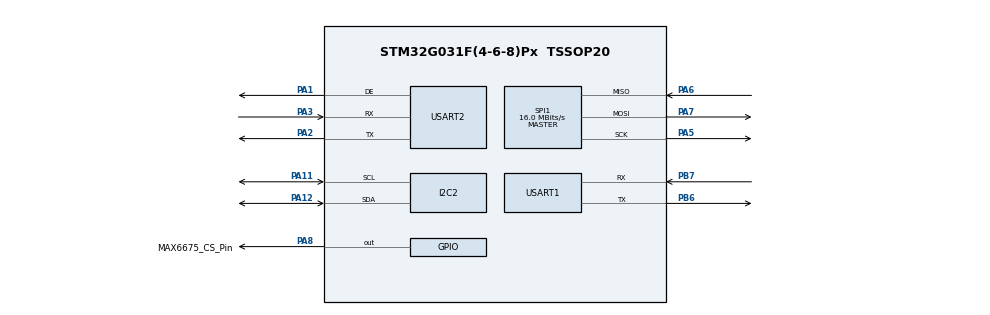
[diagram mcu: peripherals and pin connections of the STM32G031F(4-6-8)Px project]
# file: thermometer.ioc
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I2C2.Timing=0x00B07CB4
Mcu.Family=STM32G0
Mcu.Name=STM32G031F(4-6-8)Px
Mcu.Package=TSSOP20
PA1.Mode=Hardware Flow Control (RS485)
PA1.Signal=USART2_DE
PA11\ [PA9].Mode=I2C
PA11\ [PA9].Signal=I2C2_SCL
PA12\ [PA10].Mode=I2C
PA12\ [PA10].Signal=I2C2_SDA
PA13.Mode=Serial_Wire
PA13.Signal=SYS_SWDIO
PA14-BOOT0.Mode=Serial_Wire
PA14-BOOT0.Signal=SYS_SWCLK
PA14-BOOT0__PA15.StandardMode=true
PA2.Mode=Asynchronous
PA2.Signal=USART2_TX
PA3.Mode=Asynchronous
PA3.Signal=USART2_RX
PA5.Mode=Full_Duplex_Master
PA5.Signal=SPI1_SCK
PA6.Mode=Full_Duplex_Master
PA6.Signal=SPI1_MISO
PA7.Mode=Full_Duplex_Master
PA7.Signal=SPI1_MOSI
PA8.GPIO_Label=MAX6675_CS_Pin
PA8.Signal=GPIO_Output
PB0__PB1__PB2__PA8.StandardMode=true
PB3__PB4__PB5__PB6.StandardMode=true
PB6.Mode=Asynchronous
PB6.Signal=USART1_TX
PB7.Mode=Asynchronous
PB7.Signal=USART1_RX
PB7__PB8.StandardMode=true
PC14-OSC32_IN\ (PC14)__PB9.StandardMode=true
ProjectManager.HeapSize=0x200
ProjectManager.StackSize=0x400
ProjectManager.TargetToolchain=STM32CubeIDE
RCC.ADCFreq_Value=32000000
RCC.AHBFreq_Value=32000000
RCC.CortexFreq_Value=32000000
RCC.EXTERNAL_CLOCK_VALUE=12288000
RCC.HCLKFreq_Value=32000000
RCC.HSE_VALUE=8000000
RCC.HSI_VALUE=16000000
RCC.LSE_VALUE=32768
RCC.PLLR=RCC_PLLR_DIV4
RCC.SYSCLKFreq_VALUE=32000000
RCC.SYSCLKSource=RCC_SYSCLKSOURCE_PLLCLK
RCC.VCOOutputFreq_Value=128000000
SPI1.CalculateBaudRate=16.0 MBits/s
SPI1.Direction=SPI_DIRECTION_2LINES
SPI1.Mode=SPI_MODE_MASTER
SPI1.VirtualType=VM_MASTER
USART1.VirtualMode-Asynchronous=VM_ASYNC
USART2.VirtualMode-Asynchronous=VM_ASYNC
USART2.VirtualMode-Hardware\ Flow\ Control\ (RS485)=VM_ASYNC
board=custom

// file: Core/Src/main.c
/* USER CODE BEGIN Header */
/**
 ******************************************************************************
 * @file           : main.c
 * @brief          : Main program body
 ******************************************************************************
 * @attention
 *
 * Copyright (c) 2025 STMicroelectronics.
 * All rights reserved.
 *
 * This software is licensed under terms that can be found in the LICENSE file
 * in the root directory of this software component.
 * If no LICENSE file comes with this software, it is provided AS-IS.
 *
 ******************************************************************************
 */
/* USER CODE END Header */
#include "main.h"
#include "max6675.h"
#include "oled.h"
#include "font.h"
#include "stm32g0xx_ll_cortex.h"
#include "system_stm32g0xx.h"
#include <stdio.h>
#include <string.h>

/* USER CODE BEGIN PD */
#define OLED_BUFFER_SIZE  10
/* USER CODE END PD */

/* USER CODE BEGIN PV */
static uint32_t last_screen_update = 0;
const uint32_t screen_update_interval = 1000;
/* USER CODE END PV */

void SystemClock_Config(void);
static void MX_GPIO_Init(void);
static void MX_I2C2_Init(void);
static void MX_SPI1_Init(void);
static void MX_USART1_UART_Init(void);
static void MX_USART2_UART_Init(void);

int main(void)
{

    /* MCU Configuration--------------------------------------------------------*/

    /* Reset of all peripherals, Initializes the Flash interface and the Systick. */
    LL_APB2_GRP1_EnableClock(LL_APB2_GRP1_PERIPH_SYSCFG);
    LL_APB1_GRP1_EnableClock(LL_APB1_GRP1_PERIPH_PWR);

    /* SysTick_IRQn interrupt configuration */
    NVIC_SetPriority(SysTick_IRQn, 3);

    /* Configure the system clock */
    SystemClock_Config();

    /* USER CODE BEGIN SysInit */
    SysTick_Config(SystemCoreClock / 1000);
    LL_SYSTICK_EnableIT();
    /* USER CODE END SysInit */

    /* Initialize all configured peripherals */
    MX_GPIO_Init();
    MX_I2C2_Init();
    MX_SPI1_Init();
    MX_USART1_UART_Init();
    MX_USART2_UART_Init();
    /* USER CODE BEGIN 2 */
    ssd1306_init();
    char buffer[OLED_BUFFER_SIZE];
    /* USER CODE END 2 */

    /* Infinite loop */
    /* USER CODE BEGIN WHILE */
    __enable_irq();
    while (1)
    {
        uint16_t raw_data = max6675_read_raw_data(SPI1, MAX6675_CS_Pin_GPIO_Port, MAX6675_CS_Pin_Pin);

        if (max6675_is_thermocouple_connected(raw_data))
        {
            volatile float temp = max6675_convert_to_temperature(raw_data);
            int16_t temp_int = (int16_t) temp;
            snprintf(buffer, OLED_BUFFER_SIZE, "T:%d", temp_int);
        }
        else
        {
            strcpy(buffer, "eee");
            //message on oled display if thermocouple isn't connected
        }

        ssd1306_draw_string(font_get_special_7x13(), buffer, 10, 15);

        ssd1306_update_screen();

        /* USER CODE END WHILE */

    }
}

void SystemClock_Config(void)
{
    LL_FLASH_SetLatency(LL_FLASH_LATENCY_1);
    while (LL_FLASH_GetLatency() != LL_FLASH_LATENCY_1)
    {
    }

    /* HSI configuration and activation */
    LL_RCC_HSI_Enable();
    while (LL_RCC_HSI_IsReady() != 1)
    {
    }

    /* Main PLL configuration and activation */
    LL_RCC_PLL_ConfigDomain_SYS(LL_RCC_PLLSOURCE_HSI, LL_RCC_PLLM_DIV_1, 8, LL_RCC_PLLR_DIV_4);
    LL_RCC_PLL_Enable();
    LL_RCC_PLL_EnableDomain_SYS();
    while (LL_RCC_PLL_IsReady() != 1)
    {
    }

    /* Set AHB prescaler*/
    LL_RCC_SetAHBPrescaler(LL_RCC_SYSCLK_DIV_1);

    /* Sysclk activation on the main PLL */
    LL_RCC_SetSysClkSource(LL_RCC_SYS_CLKSOURCE_PLL);
    while (LL_RCC_GetSysClkSource() != LL_RCC_SYS_CLKSOURCE_STATUS_PLL)
    {
    }

    /* Set APB1 prescaler*/
    LL_RCC_SetAPB1Prescaler(LL_RCC_APB1_DIV_1);

    LL_Init1msTick(32000000);

    /* Update CMSIS variable (which can be updated also through SystemCoreClockUpdate function) */
    LL_SetSystemCoreClock(32000000);
}

static void MX_I2C2_Init(void)
{

    LL_I2C_InitTypeDef I2C_InitStruct = { 0 };

    LL_GPIO_InitTypeDef GPIO_InitStruct = { 0 };

    LL_IOP_GRP1_EnableClock(LL_IOP_GRP1_PERIPH_GPIOA);
    /**I2C2 GPIO Configuration
     PA11 [PA9]   ------> I2C2_SCL
     PA12 [PA10]   ------> I2C2_SDA
     */
    GPIO_InitStruct.Pin = LL_GPIO_PIN_11;
    GPIO_InitStruct.Mode = LL_GPIO_MODE_ALTERNATE;
    GPIO_InitStruct.Speed = LL_GPIO_SPEED_FREQ_LOW;
    GPIO_InitStruct.OutputType = LL_GPIO_OUTPUT_OPENDRAIN;
    GPIO_InitStruct.Pull = LL_GPIO_PULL_NO;
    GPIO_InitStruct.Alternate = LL_GPIO_AF_6;
    LL_GPIO_Init(GPIOA, &GPIO_InitStruct);

    GPIO_InitStruct.Pin = LL_GPIO_PIN_12;
    GPIO_InitStruct.Mode = LL_GPIO_MODE_ALTERNATE;
    GPIO_InitStruct.Speed = LL_GPIO_SPEED_FREQ_LOW;
    GPIO_InitStruct.OutputType = LL_GPIO_OUTPUT_OPENDRAIN;
    GPIO_InitStruct.Pull = LL_GPIO_PULL_NO;
    GPIO_InitStruct.Alternate = LL_GPIO_AF_6;
    LL_GPIO_Init(GPIOA, &GPIO_InitStruct);

    /* Peripheral clock enable */
    LL_APB1_GRP1_EnableClock(LL_APB1_GRP1_PERIPH_I2C2);

    /** I2C Initialization
     */
    I2C_InitStruct.PeripheralMode = LL_I2C_MODE_I2C;
    I2C_InitStruct.Timing = 0x00B07CB4;
    I2C_InitStruct.AnalogFilter = LL_I2C_ANALOGFILTER_ENABLE;
    I2C_InitStruct.DigitalFilter = 0;
    I2C_InitStruct.OwnAddress1 = 0;
    I2C_InitStruct.TypeAcknowledge = LL_I2C_ACK;
    I2C_InitStruct.OwnAddrSize = LL_I2C_OWNADDRESS1_7BIT;
    LL_I2C_Init(I2C2, &I2C_InitStruct);
    LL_I2C_EnableAutoEndMode(I2C2);
    LL_I2C_SetOwnAddress2(I2C2, 0, LL_I2C_OWNADDRESS2_NOMASK);
    LL_I2C_DisableOwnAddress2(I2C2);
    LL_I2C_DisableGeneralCall(I2C2);
    LL_I2C_EnableClockStretching(I2C2);

}

static void MX_SPI1_Init(void)
{

    LL_SPI_InitTypeDef SPI_InitStruct = { 0 };

    LL_GPIO_InitTypeDef GPIO_InitStruct = { 0 };

    /* Peripheral clock enable */
    LL_APB2_GRP1_EnableClock(LL_APB2_GRP1_PERIPH_SPI1);

    LL_IOP_GRP1_EnableClock(LL_IOP_GRP1_PERIPH_GPIOA);
    /**SPI1 GPIO Configuration
     PA5   ------> SPI1_SCK
     PA6   ------> SPI1_MISO
     PA7   ------> SPI1_MOSI
     */
    GPIO_InitStruct.Pin = LL_GPIO_PIN_5;
    GPIO_InitStruct.Mode = LL_GPIO_MODE_ALTERNATE;
    GPIO_InitStruct.Speed = LL_GPIO_SPEED_FREQ_LOW;
    GPIO_InitStruct.OutputType = LL_GPIO_OUTPUT_PUSHPULL;
    GPIO_InitStruct.Pull = LL_GPIO_PULL_NO;
    GPIO_InitStruct.Alternate = LL_GPIO_AF_0;
    LL_GPIO_Init(GPIOA, &GPIO_InitStruct);

    GPIO_InitStruct.Pin = LL_GPIO_PIN_6;
    GPIO_InitStruct.Mode = LL_GPIO_MODE_ALTERNATE;
    GPIO_InitStruct.Speed = LL_GPIO_SPEED_FREQ_LOW;
    GPIO_InitStruct.OutputType = LL_GPIO_OUTPUT_PUSHPULL;
    GPIO_InitStruct.Pull = LL_GPIO_PULL_NO;
    GPIO_InitStruct.Alternate = LL_GPIO_AF_0;
    LL_GPIO_Init(GPIOA, &GPIO_InitStruct);

    /* SPI1 parameter configuration*/
    SPI_InitStruct.TransferDirection = LL_SPI_FULL_DUPLEX;
    SPI_InitStruct.Mode = LL_SPI_MODE_MASTER;
    SPI_InitStruct.DataWidth = LL_SPI_DATAWIDTH_8BIT;
    SPI_InitStruct.ClockPolarity = LL_SPI_POLARITY_LOW;
    SPI_InitStruct.ClockPhase = LL_SPI_PHASE_1EDGE;
    SPI_InitStruct.NSS = LL_SPI_NSS_SOFT;
    SPI_InitStruct.BaudRate = LL_SPI_BAUDRATEPRESCALER_DIV8;
    SPI_InitStruct.BitOrder = LL_SPI_MSB_FIRST;
    SPI_InitStruct.CRCCalculation = LL_SPI_CRCCALCULATION_DISABLE;
    SPI_InitStruct.CRCPoly = 7;
    LL_SPI_Init(SPI1, &SPI_InitStruct);
    LL_SPI_SetStandard(SPI1, LL_SPI_PROTOCOL_MOTOROLA);
    LL_SPI_EnableNSSPulseMgt(SPI1);

}

static void MX_USART1_UART_Init(void)
{

    LL_USART_InitTypeDef USART_InitStruct = { 0 };

    LL_GPIO_InitTypeDef GPIO_InitStruct = { 0 };

    LL_RCC_SetUSARTClockSource(LL_RCC_USART1_CLKSOURCE_PCLK1);

    /* Peripheral clock enable */
    LL_APB2_GRP1_EnableClock(LL_APB2_GRP1_PERIPH_USART1);

    LL_IOP_GRP1_EnableClock(LL_IOP_GRP1_PERIPH_GPIOB);
    /**USART1 GPIO Configuration
     PB7   ------> USART1_RX
     PB6   ------> USART1_TX
     */
    GPIO_InitStruct.Pin = LL_GPIO_PIN_7;
    GPIO_InitStruct.Mode = LL_GPIO_MODE_ALTERNATE;
    GPIO_InitStruct.Speed = LL_GPIO_SPEED_FREQ_LOW;
    GPIO_InitStruct.OutputType = LL_GPIO_OUTPUT_PUSHPULL;
    GPIO_InitStruct.Pull = LL_GPIO_PULL_NO;
    GPIO_InitStruct.Alternate = LL_GPIO_AF_0;
    LL_GPIO_Init(GPIOB, &GPIO_InitStruct);

    GPIO_InitStruct.Pin = LL_GPIO_PIN_6;
    GPIO_InitStruct.Mode = LL_GPIO_MODE_ALTERNATE;
    GPIO_InitStruct.Speed = LL_GPIO_SPEED_FREQ_LOW;
    GPIO_InitStruct.OutputType = LL_GPIO_OUTPUT_PUSHPULL;
    GPIO_InitStruct.Pull = LL_GPIO_PULL_NO;
    GPIO_InitStruct.Alternate = LL_GPIO_AF_0;
    LL_GPIO_Init(GPIOB, &GPIO_InitStruct);

    USART_InitStruct.PrescalerValue = LL_USART_PRESCALER_DIV1;
    USART_InitStruct.BaudRate = 115200;
    USART_InitStruct.DataWidth = LL_USART_DATAWIDTH_8B;
    USART_InitStruct.StopBits = LL_USART_STOPBITS_1;
    USART_InitStruct.Parity = LL_USART_PARITY_NONE;
    USART_InitStruct.TransferDirection = LL_USART_DIRECTION_TX_RX;
    USART_InitStruct.HardwareFlowControl = LL_USART_HWCONTROL_NONE;
    USART_InitStruct.OverSampling = LL_USART_OVERSAMPLING_16;
    LL_USART_Init(USART1, &USART_InitStruct);
    LL_USART_SetTXFIFOThreshold(USART1, LL_USART_FIFOTHRESHOLD_1_8);
    LL_USART_SetRXFIFOThreshold(USART1, LL_USART_FIFOTHRESHOLD_1_8);
    LL_USART_DisableFIFO(USART1);
    LL_USART_ConfigAsyncMode(USART1);

    LL_USART_Enable(USART1);

    /* Polling USART1 initialisation */
    while ((!(LL_USART_IsActiveFlag_TEACK(USART1))) || (!(LL_USART_IsActiveFlag_REACK(USART1))))
    {
    }

}

static void MX_USART2_UART_Init(void)
{

    LL_USART_InitTypeDef USART_InitStruct = { 0 };

    LL_GPIO_InitTypeDef GPIO_InitStruct = { 0 };

    /* Peripheral clock enable */
    LL_APB1_GRP1_EnableClock(LL_APB1_GRP1_PERIPH_USART2);

    LL_IOP_GRP1_EnableClock(LL_IOP_GRP1_PERIPH_GPIOA);
    /**USART2 GPIO Configuration
     PA1   ------> USART2_DE
     PA2   ------> USART2_TX
     PA3   ------> USART2_RX
     */
    GPIO_InitStruct.Pin = LL_GPIO_PIN_1;
    GPIO_InitStruct.Mode = LL_GPIO_MODE_ALTERNATE;
    GPIO_InitStruct.Speed = LL_GPIO_SPEED_FREQ_LOW;
    GPIO_InitStruct.OutputType = LL_GPIO_OUTPUT_PUSHPULL;
    GPIO_InitStruct.Pull = LL_GPIO_PULL_NO;
    GPIO_InitStruct.Alternate = LL_GPIO_AF_1;
    LL_GPIO_Init(GPIOA, &GPIO_InitStruct);

    GPIO_InitStruct.Pin = LL_GPIO_PIN_2;
    GPIO_InitStruct.Mode = LL_GPIO_MODE_ALTERNATE;
    GPIO_InitStruct.Speed = LL_GPIO_SPEED_FREQ_LOW;
    GPIO_InitStruct.OutputType = LL_GPIO_OUTPUT_PUSHPULL;
    GPIO_InitStruct.Pull = LL_GPIO_PULL_NO;
    GPIO_InitStruct.Alternate = LL_GPIO_AF_1;
    LL_GPIO_Init(GPIOA, &GPIO_InitStruct);

    GPIO_InitStruct.Pin = LL_GPIO_PIN_3;
    GPIO_InitStruct.Mode = LL_GPIO_MODE_ALTERNATE;
    GPIO_InitStruct.Speed = LL_GPIO_SPEED_FREQ_LOW;
    GPIO_InitStruct.OutputType = LL_GPIO_OUTPUT_PUSHPULL;
    GPIO_InitStruct.Pull = LL_GPIO_PULL_NO;
    GPIO_InitStruct.Alternate = LL_GPIO_AF_1;
    LL_GPIO_Init(GPIOA, &GPIO_InitStruct);

    USART_InitStruct.PrescalerValue = LL_USART_PRESCALER_DIV1;
    USART_InitStruct.BaudRate = 115200;
    USART_InitStruct.DataWidth = LL_USART_DATAWIDTH_8B;
    USART_InitStruct.StopBits = LL_USART_STOPBITS_1;
    USART_InitStruct.Parity = LL_USART_PARITY_NONE;
    USART_InitStruct.TransferDirection = LL_USART_DIRECTION_TX_RX;
    USART_InitStruct.HardwareFlowControl = LL_USART_HWCONTROL_NONE;
    USART_InitStruct.OverSampling = LL_USART_OVERSAMPLING_16;
    LL_USART_Init(USART2, &USART_InitStruct);
    LL_USART_EnableDEMode(USART2);
    LL_USART_SetDESignalPolarity(USART2, LL_USART_DE_POLARITY_HIGH);
    LL_USART_SetDEAssertionTime(USART2, 0);
    LL_USART_SetDEDeassertionTime(USART2, 0);
    LL_USART_ConfigAsyncMode(USART2);

    LL_USART_Enable(USART2);

    /* Polling USART2 initialisation */
    while ((!(LL_USART_IsActiveFlag_TEACK(USART2))) || (!(LL_USART_IsActiveFlag_REACK(USART2))))
    {
    }

}

static void MX_GPIO_Init(void)
{
    LL_GPIO_InitTypeDef GPIO_InitStruct = { 0 };

    /* GPIO Ports Clock Enable */
    LL_IOP_GRP1_EnableClock(LL_IOP_GRP1_PERIPH_GPIOB);
    LL_IOP_GRP1_EnableClock(LL_IOP_GRP1_PERIPH_GPIOA);

    /**/
    LL_GPIO_ResetOutputPin(MAX6675_CS_Pin_GPIO_Port, MAX6675_CS_Pin_Pin);

    /**/
    GPIO_InitStruct.Pin = MAX6675_CS_Pin_Pin;
    GPIO_InitStruct.Mode = LL_GPIO_MODE_OUTPUT;
    GPIO_InitStruct.Speed = LL_GPIO_SPEED_FREQ_LOW;
    GPIO_InitStruct.OutputType = LL_GPIO_OUTPUT_PUSHPULL;
    GPIO_InitStruct.Pull = LL_GPIO_PULL_NO;
    LL_GPIO_Init(MAX6675_CS_Pin_GPIO_Port, &GPIO_InitStruct);

}

void Error_Handler(void)
{
    __disable_irq();
    while (1)
    {
    }
}
